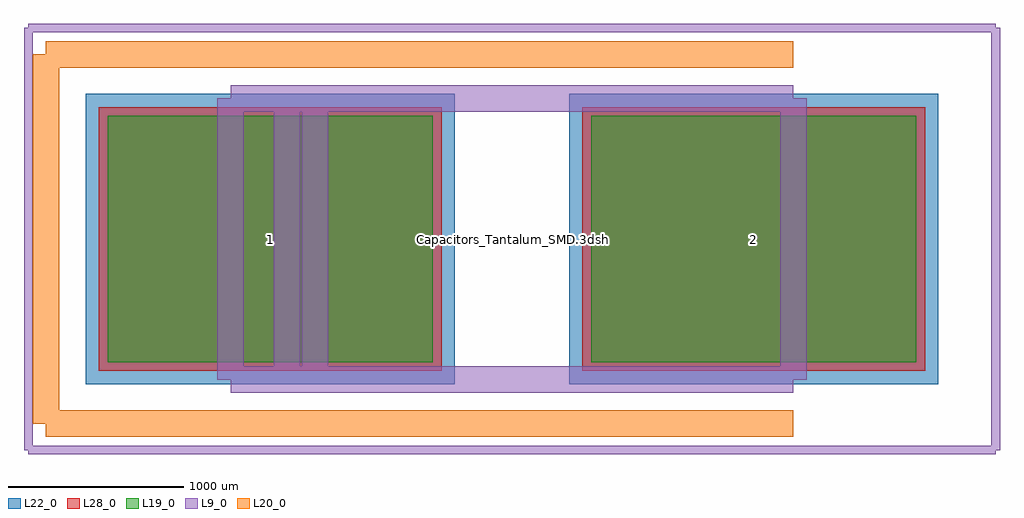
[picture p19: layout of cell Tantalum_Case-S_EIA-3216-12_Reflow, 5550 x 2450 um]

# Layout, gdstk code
import gdstk
lib = gdstk.Library(unit=1e-6, precision=1e-09)
def R(c, l, rs):  # rectangles x0, y0, x1, y1
    for r in rs: c.add(gdstk.rectangle(r[:2], r[2:], *l))
L9_0 = (9, 0)
L19_0 = (19, 0)
L20_0 = (20, 0)
L22_0 = (22, 0)
L28_0 = (28, 0)

tantalum_case_s_eia_3216 = lib.new_cell('Tantalum_Case-S_EIA-3216-12_Reflow')
R(tantalum_case_s_eia_3216, L19_0, [(-2300,-700,-450,700), (450,-700,2300,700)])
R(tantalum_case_s_eia_3216, L22_0, [(-2425,-825,-325,825), (325,-825,2425,825)])
R(tantalum_case_s_eia_3216, L28_0, [(-2350,-750,-400,750), (400,-750,2350,750)])
tantalum_case_s_eia_3216.add(gdstk.FlexPath([(-2650,1050),(-2650,-1050)], 149.998, ends="flush", simple_path=True, layer=20, datatype=0))  # L20_0
tantalum_case_s_eia_3216.add(gdstk.FlexPath([(-2650,-1050),(1600,-1050)], 149.998, ends="flush", simple_path=True, layer=20, datatype=0))  # L20_0
tantalum_case_s_eia_3216.add(gdstk.FlexPath([(-2650,1050),(1600,1050)], 149.998, ends="flush", simple_path=True, layer=20, datatype=0))  # L20_0
tantalum_case_s_eia_3216.add(gdstk.FlexPath([(-1120,800),(-1120,-800)], 149.998, ends="flush", simple_path=True, layer=9, datatype=0))  # L9_0
tantalum_case_s_eia_3216.add(gdstk.FlexPath([(-1280,800),(-1280,-800)], 149.998, ends="flush", simple_path=True, layer=9, datatype=0))  # L9_0
tantalum_case_s_eia_3216.add(gdstk.FlexPath([(1600,800),(-1600,800)], 149.998, ends="flush", simple_path=True, layer=9, datatype=0))  # L9_0
tantalum_case_s_eia_3216.add(gdstk.FlexPath([(1600,-800),(1600,800)], 149.998, ends="flush", simple_path=True, layer=9, datatype=0))  # L9_0
tantalum_case_s_eia_3216.add(gdstk.FlexPath([(-1600,-800),(1600,-800)], 149.998, ends="flush", simple_path=True, layer=9, datatype=0))  # L9_0
tantalum_case_s_eia_3216.add(gdstk.FlexPath([(-1600,800),(-1600,-800)], 149.998, ends="flush", simple_path=True, layer=9, datatype=0))  # L9_0
tantalum_case_s_eia_3216.add(gdstk.FlexPath([(2750,1200),(-2750,1200)], 50, ends="flush", simple_path=True, layer=9, datatype=0))  # L9_0
tantalum_case_s_eia_3216.add(gdstk.FlexPath([(2750,-1200),(2750,1200)], 50, ends="flush", simple_path=True, layer=9, datatype=0))  # L9_0
tantalum_case_s_eia_3216.add(gdstk.FlexPath([(-2750,-1200),(2750,-1200)], 50, ends="flush", simple_path=True, layer=9, datatype=0))  # L9_0
tantalum_case_s_eia_3216.add(gdstk.FlexPath([(-2750,1200),(-2750,-1200)], 50, ends="flush", simple_path=True, layer=9, datatype=0))  # L9_0
tantalum_case_s_eia_3216.add(gdstk.Label('Capacitors_Tantalum_SMD.3dshapes/Tantalum_Case-S_EIA-3216-12.wrl', (0,0), layer=12, texttype=0))
tantalum_case_s_eia_3216.add(gdstk.Label('2', (1375,0), layer=28, texttype=0))
tantalum_case_s_eia_3216.add(gdstk.Label('1', (-1375,0), layer=28, texttype=0))
tantalum_case_s_eia_3216.add(gdstk.Label('type', (0,-2550), layer=9, texttype=0))
tantalum_case_s_eia_3216.add(gdstk.Label('devicename', (0,2550), layer=9, texttype=0))

lib.write_gds('Tantalum_Case-S_EIA-3216-12_Reflow.gds')
